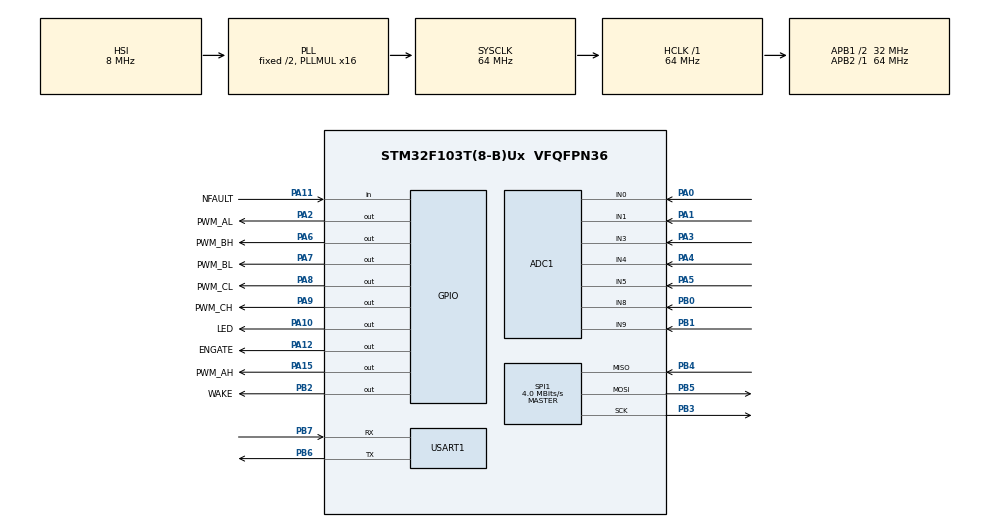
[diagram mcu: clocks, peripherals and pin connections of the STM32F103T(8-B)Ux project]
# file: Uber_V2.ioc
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ADC1.Channel-0\#ChannelRegularConversion=ADC_CHANNEL_0
ADC1.NbrOfConversionFlag=1
ADC1.Rank-0\#ChannelRegularConversion=1
ADC1.SamplingTime-0\#ChannelRegularConversion=ADC_SAMPLETIME_1CYCLE_5
ADC1.master=1
Mcu.Family=STM32F1
Mcu.Name=STM32F103T(8-B)Ux
Mcu.Package=VFQFPN36
NVIC.PriorityGroup=NVIC_PRIORITYGROUP_4
PA0-WKUP.Signal=ADCx_IN0
PA1.Signal=ADCx_IN1
PA10.GPIO_Label=LED
PA10.Signal=GPIO_Output
PA11.GPIO_Label=NFAULT
PA11.Signal=GPIO_Input
PA12.GPIO_Label=ENGATE
PA12.Signal=GPIO_Output
PA13.Mode=Serial_Wire
PA13.Signal=SYS_JTMS-SWDIO
PA14.Mode=Serial_Wire
PA14.Signal=SYS_JTCK-SWCLK
PA15.GPIO_Label=PWM_AH
PA15.Signal=GPIO_Output
PA2.GPIO_Label=PWM_AL
PA2.Signal=GPIO_Output
PA3.Signal=ADCx_IN3
PA4.Signal=ADCx_IN4
PA5.Signal=ADCx_IN5
PA6.GPIO_Label=PWM_BH
PA6.Signal=GPIO_Output
PA7.GPIO_Label=PWM_BL
PA7.Signal=GPIO_Output
PA8.GPIO_Label=PWM_CL
PA8.Signal=GPIO_Output
PA9.GPIO_Label=PWM_CH
PA9.Signal=GPIO_Output
PB0.Signal=ADCx_IN8
PB1.Signal=ADCx_IN9
PB2.GPIO_Label=WAKE
PB2.Signal=GPIO_Output
PB3.Mode=Full_Duplex_Master
PB3.Signal=SPI1_SCK
PB4.Mode=Full_Duplex_Master
PB4.Signal=SPI1_MISO
PB5.Mode=Full_Duplex_Master
PB5.Signal=SPI1_MOSI
PB6.Mode=Asynchronous
PB6.Signal=USART1_TX
PB7.Mode=Asynchronous
PB7.Signal=USART1_RX
PD0-OSC_IN.Mode=HSE-External-Oscillator
PD0-OSC_IN.Signal=RCC_OSC_IN
PD1-OSC_OUT.Mode=HSE-External-Oscillator
PD1-OSC_OUT.Signal=RCC_OSC_OUT
ProjectManager.HeapSize=0x200
ProjectManager.StackSize=0x400
ProjectManager.TargetToolchain=STM32CubeIDE
RCC.ADCPresc=RCC_ADCPCLK2_DIV6
RCC.AHBFreq_Value=64000000
RCC.APB1CLKDivider=RCC_HCLK_DIV2
RCC.APB1Freq_Value=32000000
RCC.APB1TimFreq_Value=64000000
RCC.APB2Freq_Value=64000000
RCC.APB2TimFreq_Value=64000000
RCC.HCLKFreq_Value=64000000
RCC.PLLMUL=RCC_PLL_MUL16
RCC.SYSCLKFreq_VALUE=64000000
RCC.SYSCLKSource=RCC_SYSCLKSOURCE_PLLCLK
RCC.USBFreq_Value=64000000
SH.ADCx_IN0.0=ADC1_IN0,IN0
SH.ADCx_IN1.0=ADC1_IN1,IN1
SH.ADCx_IN3.0=ADC1_IN3,IN3
SH.ADCx_IN4.0=ADC1_IN4,IN4
SH.ADCx_IN5.0=ADC1_IN5,IN5
SH.ADCx_IN8.0=ADC1_IN8,IN8
SH.ADCx_IN9.0=ADC1_IN9,IN9
SPI1.BaudRatePrescaler=SPI_BAUDRATEPRESCALER_16
SPI1.CLKPhase=SPI_PHASE_2EDGE
SPI1.CLKPolarity=SPI_POLARITY_LOW
SPI1.CalculateBaudRate=4.0 MBits/s
SPI1.DataSize=SPI_DATASIZE_16BIT
SPI1.Direction=SPI_DIRECTION_2LINES
SPI1.FirstBit=SPI_FIRSTBIT_MSB
SPI1.Mode=SPI_MODE_MASTER
SPI1.VirtualType=VM_MASTER
USART1.VirtualMode=VM_ASYNC
board=custom

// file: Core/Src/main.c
/* USER CODE BEGIN Header */
/**
  ******************************************************************************
  * @file           : main.c
  * @brief          : Main program body
  ******************************************************************************
  * @attention
  *
  * <h2><center>&copy; Copyright (c) 2020 STMicroelectronics.
  * All rights reserved.</center></h2>
  *
  * This software component is licensed by ST under BSD 3-Clause license,
  * the "License"; You may not use this file except in compliance with the
  * License. You may obtain a copy of the License at:
  *                        opensource.org/licenses/BSD-3-Clause
  *
  ******************************************************************************
  */
/* USER CODE END Header */
#include "main.h"

/* USER CODE BEGIN Includes */
#include "DRV8305.h"
/* USER CODE END Includes */

ADC_HandleTypeDef hadc1;

SPI_HandleTypeDef hspi1;

UART_HandleTypeDef huart1;

/* USER CODE BEGIN PV */
uint8_t buf[2] = {0, 0};
/* USER CODE END PV */

void SystemClock_Config(void);
static void MX_GPIO_Init(void);
static void MX_ADC1_Init(void);
static void MX_SPI1_Init(void);
static void MX_USART1_UART_Init(void);

int main(void)
{

  /* MCU Configuration--------------------------------------------------------*/

  /* Reset of all peripherals, Initializes the Flash interface and the Systick. */
  HAL_Init();

  /* Configure the system clock */
  SystemClock_Config();

  /* Initialize all configured peripherals */
  MX_GPIO_Init();
  MX_ADC1_Init();
  MX_SPI1_Init();
  MX_USART1_UART_Init();
  /* USER CODE BEGIN 2 */
  HAL_GPIO_WritePin(ENGATE_GPIO_Port, ENGATE_Pin, 0);
  HAL_GPIO_WritePin(WAKE_GPIO_Port, WAKE_Pin, 1);
  HAL_GPIO_WritePin(PWM_AH_GPIO_Port, PWM_AH_Pin, 0);
  HAL_GPIO_WritePin(PWM_AL_GPIO_Port, PWM_AL_Pin, 0);
  HAL_GPIO_WritePin(PWM_BH_GPIO_Port, PWM_BH_Pin, 0);
  HAL_GPIO_WritePin(PWM_BL_GPIO_Port, PWM_BL_Pin, 0);
  HAL_GPIO_WritePin(PWM_CH_GPIO_Port, PWM_CH_Pin, 0);
  HAL_GPIO_WritePin(PWM_CL_GPIO_Port, PWM_CL_Pin, 0);
  DRV_Init(hspi1);
  HAL_Delay(1000);
  /* USER CODE END 2 */

  /* Infinite loop */
  /* USER CODE BEGIN WHILE */

  HAL_GPIO_WritePin(ENGATE_GPIO_Port, ENGATE_Pin, 1);
/*
    TIM_OC_InitTypeDef PWMHA, PWMLA;

    PWMHA.OCMode = TIM_OCMODE_PWM1;
    PWMHA.Pulse = 64;
    PWMHA.OCPolarity = TIM_OCPOLARITY_HIGH;
    PWMHA.OCFastMode = TIM_OCFAST_DISABLE;
    HAL_TIM_PWM_ConfigChannel(&htim1, &PWMHA, TIM_CHANNEL_1);
    HAL_TIM_PWM_Start(&htim1, TIM_CHANNEL_1);

    PWMLA.OCMode = TIM_OCMODE_PWM1;
    PWMLA.Pulse = 64;
    PWMLA.OCPolarity = TIM_OCPOLARITY_LOW;
    PWMLA.OCFastMode = TIM_OCFAST_DISABLE;
    HAL_TIM_PWM_ConfigChannel(&htim1, &PWMLA, TIM_CHANNEL_2);
    HAL_TIM_PWM_Start(&htim1, TIM_CHANNEL_2);
*/

  uint8_t Value = 0;
  while (1)
  {
    /* USER CODE END WHILE */

    /* USER CODE BEGIN 3 */

	  //DRV_Read(GATE_DRIVE_CONTROL, buf);
	  //uint8_t data[2] = {0xDA,0xDA};
	  /*
	  	uint8_t data[2] = {(Value << 3) + 0x80,(Value << 3) + 0x80};			// Read command, MSB is shifted in and out first
	  	Value ++;
	  	HAL_GPIO_WritePin(WAKE_GPIO_Port, WAKE_Pin, 0);
	  	HAL_Delay(1);
	  	uint8_t res = HAL_SPI_TransmitReceive(&hspi1, data, buf, 2, 1000);
	  	HAL_Delay(1);
	  	HAL_GPIO_WritePin(WAKE_GPIO_Port, WAKE_Pin, 1);
*/
	  //if((buf[0] == 0x16)&&(buf[1] == 0x2)){
	  HAL_GPIO_WritePin(PWM_AH_GPIO_Port, PWM_AH_Pin, 1);
	  HAL_GPIO_WritePin(PWM_AL_GPIO_Port, PWM_AL_Pin, 0);
	  //HAL_GPIO_WritePin(PWM_BH_GPIO_Port, PWM_BH_Pin, 1);
	  //HAL_GPIO_WritePin(PWM_BL_GPIO_Port, PWM_BL_Pin, 0);
	  //HAL_GPIO_WritePin(PWM_CH_GPIO_Port, PWM_CH_Pin, 0);
	  //HAL_GPIO_WritePin(PWM_CL_GPIO_Port, PWM_CL_Pin, 1);
	  HAL_Delay(1);
	  HAL_GPIO_WritePin(PWM_AH_GPIO_Port, PWM_AH_Pin, 0);
	  HAL_GPIO_WritePin(PWM_AL_GPIO_Port, PWM_AL_Pin, 1);
	  //HAL_GPIO_WritePin(PWM_BH_GPIO_Port, PWM_BH_Pin, 0);
	  //HAL_GPIO_WritePin(PWM_BL_GPIO_Port, PWM_BL_Pin, 1);
	  //HAL_GPIO_WritePin(PWM_CH_GPIO_Port, PWM_CH_Pin, 1);
	  //HAL_GPIO_WritePin(PWM_CL_GPIO_Port, PWM_CL_Pin, 0);
	  HAL_Delay(1);
	  //}

	  //HAL_GPIO_TogglePin(LED_GPIO_Port, LED_Pin);
	 //HAL_Delay(1000);
  }
  /* USER CODE END 3 */
}

void SystemClock_Config(void)
{
  RCC_OscInitTypeDef RCC_OscInitStruct = {0};
  RCC_ClkInitTypeDef RCC_ClkInitStruct = {0};
  RCC_PeriphCLKInitTypeDef PeriphClkInit = {0};

  /** Initializes the RCC Oscillators according to the specified parameters
  * in the RCC_OscInitTypeDef structure.
  */
  RCC_OscInitStruct.OscillatorType = RCC_OSCILLATORTYPE_HSI;
  RCC_OscInitStruct.HSIState = RCC_HSI_ON;
  RCC_OscInitStruct.HSICalibrationValue = RCC_HSICALIBRATION_DEFAULT;
  RCC_OscInitStruct.PLL.PLLState = RCC_PLL_ON;
  RCC_OscInitStruct.PLL.PLLSource = RCC_PLLSOURCE_HSI_DIV2;
  RCC_OscInitStruct.PLL.PLLMUL = RCC_PLL_MUL16;
  if (HAL_RCC_OscConfig(&RCC_OscInitStruct) != HAL_OK)
  {
    Error_Handler();
  }
  /** Initializes the CPU, AHB and APB buses clocks
  */
  RCC_ClkInitStruct.ClockType = RCC_CLOCKTYPE_HCLK|RCC_CLOCKTYPE_SYSCLK
                              |RCC_CLOCKTYPE_PCLK1|RCC_CLOCKTYPE_PCLK2;
  RCC_ClkInitStruct.SYSCLKSource = RCC_SYSCLKSOURCE_PLLCLK;
  RCC_ClkInitStruct.AHBCLKDivider = RCC_SYSCLK_DIV1;
  RCC_ClkInitStruct.APB1CLKDivider = RCC_HCLK_DIV2;
  RCC_ClkInitStruct.APB2CLKDivider = RCC_HCLK_DIV1;

  if (HAL_RCC_ClockConfig(&RCC_ClkInitStruct, FLASH_LATENCY_2) != HAL_OK)
  {
    Error_Handler();
  }
  PeriphClkInit.PeriphClockSelection = RCC_PERIPHCLK_ADC;
  PeriphClkInit.AdcClockSelection = RCC_ADCPCLK2_DIV6;
  if (HAL_RCCEx_PeriphCLKConfig(&PeriphClkInit) != HAL_OK)
  {
    Error_Handler();
  }
}

static void MX_ADC1_Init(void)
{

  ADC_ChannelConfTypeDef sConfig = {0};

  /** Common config
  */
  hadc1.Instance = ADC1;
  hadc1.Init.ScanConvMode = ADC_SCAN_DISABLE;
  hadc1.Init.ContinuousConvMode = DISABLE;
  hadc1.Init.DiscontinuousConvMode = DISABLE;
  hadc1.Init.ExternalTrigConv = ADC_SOFTWARE_START;
  hadc1.Init.DataAlign = ADC_DATAALIGN_RIGHT;
  hadc1.Init.NbrOfConversion = 1;
  if (HAL_ADC_Init(&hadc1) != HAL_OK)
  {
    Error_Handler();
  }
  /** Configure Regular Channel
  */
  sConfig.Channel = ADC_CHANNEL_0;
  sConfig.Rank = ADC_REGULAR_RANK_1;
  sConfig.SamplingTime = ADC_SAMPLETIME_1CYCLE_5;
  if (HAL_ADC_ConfigChannel(&hadc1, &sConfig) != HAL_OK)
  {
    Error_Handler();
  }

}

static void MX_SPI1_Init(void)
{

  /* SPI1 parameter configuration*/
  hspi1.Instance = SPI1;
  hspi1.Init.Mode = SPI_MODE_MASTER;
  hspi1.Init.Direction = SPI_DIRECTION_2LINES;
  hspi1.Init.DataSize = SPI_DATASIZE_16BIT;
  hspi1.Init.CLKPolarity = SPI_POLARITY_LOW;
  hspi1.Init.CLKPhase = SPI_PHASE_2EDGE;
  hspi1.Init.NSS = SPI_NSS_SOFT;
  hspi1.Init.BaudRatePrescaler = SPI_BAUDRATEPRESCALER_16;
  hspi1.Init.FirstBit = SPI_FIRSTBIT_MSB;
  hspi1.Init.TIMode = SPI_TIMODE_DISABLE;
  hspi1.Init.CRCCalculation = SPI_CRCCALCULATION_DISABLE;
  hspi1.Init.CRCPolynomial = 10;
  if (HAL_SPI_Init(&hspi1) != HAL_OK)
  {
    Error_Handler();
  }

}

static void MX_USART1_UART_Init(void)
{

  huart1.Instance = USART1;
  huart1.Init.BaudRate = 115200;
  huart1.Init.WordLength = UART_WORDLENGTH_8B;
  huart1.Init.StopBits = UART_STOPBITS_1;
  huart1.Init.Parity = UART_PARITY_NONE;
  huart1.Init.Mode = UART_MODE_TX_RX;
  huart1.Init.HwFlowCtl = UART_HWCONTROL_NONE;
  huart1.Init.OverSampling = UART_OVERSAMPLING_16;
  if (HAL_UART_Init(&huart1) != HAL_OK)
  {
    Error_Handler();
  }

}

static void MX_GPIO_Init(void)
{
  GPIO_InitTypeDef GPIO_InitStruct = {0};

  /* GPIO Ports Clock Enable */
  __HAL_RCC_GPIOD_CLK_ENABLE();
  __HAL_RCC_GPIOA_CLK_ENABLE();
  __HAL_RCC_GPIOB_CLK_ENABLE();

  /*Configure GPIO pin Output Level */
  HAL_GPIO_WritePin(GPIOA, PWM_AL_Pin|PWM_BH_Pin|PWM_BL_Pin|PWM_CL_Pin
                          |PWM_CH_Pin|LED_Pin|ENGATE_Pin|PWM_AH_Pin, GPIO_PIN_RESET);

  /*Configure GPIO pin Output Level */
  HAL_GPIO_WritePin(WAKE_GPIO_Port, WAKE_Pin, GPIO_PIN_RESET);

  /*Configure GPIO pins : PWM_AL_Pin PWM_BH_Pin PWM_BL_Pin PWM_CL_Pin
                           PWM_CH_Pin LED_Pin ENGATE_Pin PWM_AH_Pin */
  GPIO_InitStruct.Pin = PWM_AL_Pin|PWM_BH_Pin|PWM_BL_Pin|PWM_CL_Pin
                          |PWM_CH_Pin|LED_Pin|ENGATE_Pin|PWM_AH_Pin;
  GPIO_InitStruct.Mode = GPIO_MODE_OUTPUT_PP;
  GPIO_InitStruct.Pull = GPIO_NOPULL;
  GPIO_InitStruct.Speed = GPIO_SPEED_FREQ_LOW;
  HAL_GPIO_Init(GPIOA, &GPIO_InitStruct);

  /*Configure GPIO pin : WAKE_Pin */
  GPIO_InitStruct.Pin = WAKE_Pin;
  GPIO_InitStruct.Mode = GPIO_MODE_OUTPUT_PP;
  GPIO_InitStruct.Pull = GPIO_NOPULL;
  GPIO_InitStruct.Speed = GPIO_SPEED_FREQ_LOW;
  HAL_GPIO_Init(WAKE_GPIO_Port, &GPIO_InitStruct);

  /*Configure GPIO pin : NFAULT_Pin */
  GPIO_InitStruct.Pin = NFAULT_Pin;
  GPIO_InitStruct.Mode = GPIO_MODE_INPUT;
  GPIO_InitStruct.Pull = GPIO_NOPULL;
  HAL_GPIO_Init(NFAULT_GPIO_Port, &GPIO_InitStruct);

}

void Error_Handler(void)
{
}

/************************ (C) COPYRIGHT STMicroelectronics *****END OF FILE****/
